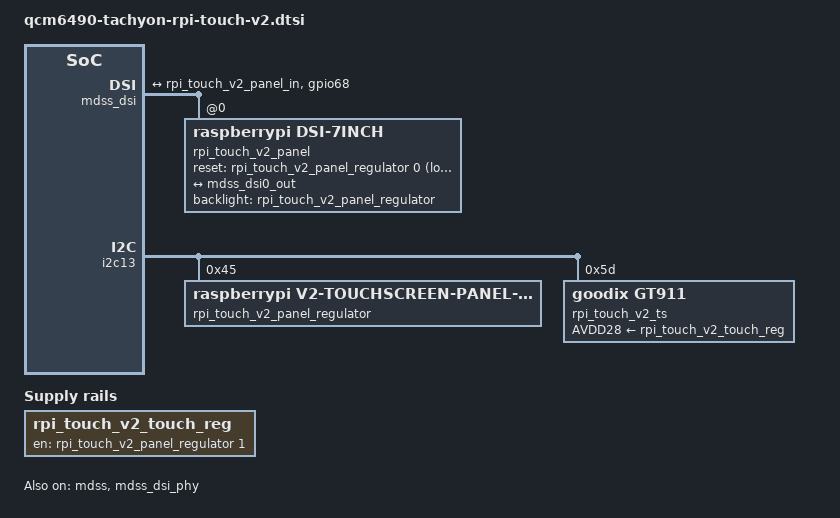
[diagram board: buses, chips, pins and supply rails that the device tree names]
// SPDX-License-Identifier: BSD-3-Clause
/*
 * Copyright (c) 2025 Particle Industries, Inc. All rights reserved.
 */

#include <dt-bindings/gpio/gpio.h>

&mdss {
	status = "okay";
};

&mdss_dsi_phy {
	vdds-supply = <&vreg_l10c_0p88>;
	status = "okay";
};

&mdss_dsi {
	vdda-supply = <&vreg_l6b_1p2>;
	status = "okay";

	pinctrl-names = "default";
	pinctrl-0 = <&dsi_csi_sw_display>;

	#address-cells = <1>;
	#size-cells = <0>;

	ports {
		#address-cells = <1>;
		#size-cells = <0>;

		port@1 {
			reg = <1>;
			mdss_dsi0_out: endpoint {
				remote-endpoint = <&rpi_touch_v2_panel_in>;
			};
		};
	};

	rpi_touch_v2_panel: panel@0 {
		reg = <0>;
		compatible = "raspberrypi,dsi-7inch";
		reset-gpio = <&rpi_touch_v2_panel_regulator 0 GPIO_ACTIVE_LOW>;
		backlight = <&rpi_touch_v2_panel_regulator>;
		status = "okay";

		port {
			rpi_touch_v2_panel_in: endpoint {
				remote-endpoint = <&mdss_dsi0_out>;
			};
		};
	};
};

&{/} {
	rpi_touch_v2_touch_reg: touch_reg {
		compatible = "regulator-fixed";
		regulator-name = "touch_reg_1";
		gpio = <&rpi_touch_v2_panel_regulator 1 GPIO_ACTIVE_HIGH>;
		startup-delay-us = <50000>;
		enable-active-high;
	};
};

&i2c13 {
	status = "okay";
    qcom,load-firmware;

	#address-cells = <1>;
	#size-cells = <0>;

	rpi_touch_v2_panel_regulator: regulator@45 {
		compatible = "raspberrypi,v2-touchscreen-panel-regulator";
		reg = <0x45>;
		gpio-controller;
		#gpio-cells = <2>;
	};

	rpi_touch_v2_ts: gt911@5d {
		compatible = "goodix,gt911";
		reg = <0x5d>;
		AVDD28-supply = <&rpi_touch_v2_touch_reg>;
		touchscreen-size-x = <720>;
		touchscreen-size-y = <1280>;
		touchscreen-x-mm = <62>;
		touchscreen-y-mm = <110>;
	};
};

&tlmm {
	// DSI/CSI switch control - set to display mode
	dsi_csi_sw_display: dsi-csi-sw-display-state {
		pins = "gpio68";
		function = "gpio";
		drive-strength = <2>;
		output-low;  // Select display mode (low=display, high=camera)
		bias-disable;
	};
};
